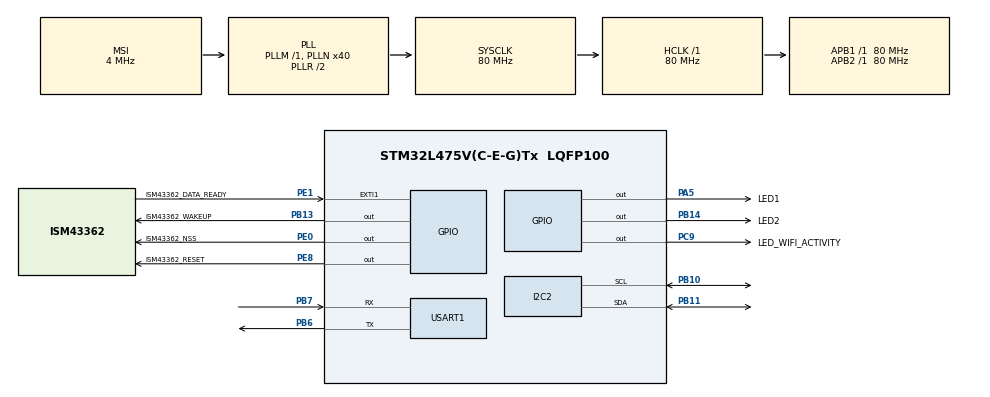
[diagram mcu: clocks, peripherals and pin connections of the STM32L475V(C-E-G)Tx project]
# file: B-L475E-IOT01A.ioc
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I2C2.Timing=0x10909CEC
Mcu.Family=STM32L4
Mcu.Name=STM32L475V(C-E-G)Tx
Mcu.Package=LQFP100
NVIC.EXTI1_IRQn=true\:0\:0\:false\:false\:true\:true\:true
NVIC.PriorityGroup=NVIC_PRIORITYGROUP_4
PA5.GPIO_Label=LED1
PA5.Signal=GPIO_Output
PB10.Mode=I2C
PB10.Signal=I2C2_SCL
PB11.Mode=I2C
PB11.Signal=I2C2_SDA
PB13.GPIO_Label=ISM43362_WAKEUP
PB13.Signal=GPIO_Output
PB14.GPIO_Label=LED2
PB14.Signal=GPIO_Output
PB6.Mode=Asynchronous
PB6.Signal=USART1_TX
PB7.Mode=Asynchronous
PB7.Signal=USART1_RX
PC9.GPIO_Label=LED_WIFI_ACTIVITY
PC9.Signal=GPIO_Output
PE0.GPIO_Label=ISM43362_NSS
PE0.PinState=GPIO_PIN_SET
PE0.Signal=GPIO_Output
PE1.GPIO_Label=ISM43362_DATA_READY
PE1.Signal=GPXTI1
PE8.GPIO_Label=ISM43362_RESET
PE8.PinState=GPIO_PIN_SET
PE8.Signal=GPIO_Output
ProjectManager.HeapSize=0x200
ProjectManager.StackSize=0x400
ProjectManager.TargetToolchain=EWARM V8.32
RCC.ADCFreq_Value=48000000
RCC.AHBFreq_Value=80000000
RCC.APB1Freq_Value=80000000
RCC.APB1TimFreq_Value=80000000
RCC.APB2Freq_Value=80000000
RCC.APB2TimFreq_Value=80000000
RCC.CortexFreq_Value=80000000
RCC.HCLKFreq_Value=80000000
RCC.HSE_VALUE=8000000
RCC.HSI_VALUE=16000000
RCC.LSE_VALUE=32768
RCC.MSI_VALUE=4000000
RCC.PLLN=40
RCC.PLLSAI1N=24
RCC.SYSCLKFreq_VALUE=80000000
RCC.SYSCLKSource=RCC_SYSCLKSOURCE_PLLCLK
RCC.USBFreq_Value=48000000
RCC.VCOOutputFreq_Value=160000000
STMicroelectronics.I-CUBE-STDIO.1.4.1.STDIOCcCompilerJjIOoOJjSTDOUT=USART
STMicroelectronics.X-CUBE-COMPONENTS.1.4.1.HTS221_I2C_HANDLER=hi2c2
STMicroelectronics.X-CUBE-COMPONENTS.1.4.1.LIS3MDL_I2C_HANDLER=hi2c2
STMicroelectronics.X-CUBE-COMPONENTS.1.4.1.LPS22HB_I2C_HANDLER=hi2c2
STMicroelectronics.X-CUBE-COMPONENTS.1.4.1.LSM6DSL_I2C_ADDRESS=0xD4
STMicroelectronics.X-CUBE-COMPONENTS.1.4.1.LSM6DSL_I2C_HANDLER=hi2c2
STMicroelectronics.X-CUBE-COMPONENTS.1.4.1.SensorsCcMotionJjMagJjLIS3MDL=I2C
USART1.VirtualMode-Asynchronous=VM_ASYNC
VP_STMicroelectronics.I-CUBE-STDIO_VS_CompilerJjSTDIO_1.0.0.Mode=CompilerJjSTDIO
VP_STMicroelectronics.X-CUBE-COMPONENTS_VS_MotionJjSensors_1.0.0_1.4.1.Mode=MotionJjSensors
board=custom

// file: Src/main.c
/* USER CODE BEGIN Header */
/**
  ******************************************************************************
  * @file           : main.c
  * @brief          : Main program body
  ******************************************************************************
  * @attention
  *
  * <h2><center>&copy; Copyright (c) 2020 STMicroelectronics.
  * All rights reserved.</center></h2>
  *
  * This software component is licensed by ST under Ultimate Liberty license
  * SLA0044, the "License"; You may not use this file except in compliance with
  * the License. You may obtain a copy of the License at:
  *                             www.st.com/SLA0044
  *
  ******************************************************************************
  */
/* USER CODE END Header */
#include "main.h"

/* USER CODE BEGIN Includes */
#include <stdio.h>
#include "lis3mdl.h"
/* USER CODE END Includes */

I2C_HandleTypeDef hi2c2;

UART_HandleTypeDef huart1;

/* USER CODE BEGIN PV */
LIS3MDL_Object_t        LIS3MDL_Obj;
uint8_t LIS3MDL_Id;
/* USER CODE END PV */

void SystemClock_Config(void);
static void MX_GPIO_Init(void);
static void MX_USART1_UART_Init(void);
static void MX_I2C2_Init(void);
/* USER CODE BEGIN PFP */
int App_Init(void);
int App_Run(void);
/* USER CODE END PFP */

int main(void)
{

  /* MCU Configuration--------------------------------------------------------*/

  /* Reset of all peripherals, Initializes the Flash interface and the Systick. */
  HAL_Init();

  /* Configure the system clock */
  SystemClock_Config();

  /* Initialize all configured peripherals */
  MX_GPIO_Init();
  MX_USART1_UART_Init();
  MX_I2C2_Init();
  /* USER CODE BEGIN 2 */

  App_Init();
  /* USER CODE END 2 */

  /* Infinite loop */
  /* USER CODE BEGIN WHILE */
  while (1)
  {
    App_Run();
    /* USER CODE END WHILE */

  }
}

void SystemClock_Config(void)
{
  RCC_OscInitTypeDef RCC_OscInitStruct = {0};
  RCC_ClkInitTypeDef RCC_ClkInitStruct = {0};
  RCC_PeriphCLKInitTypeDef PeriphClkInit = {0};

  /** Initializes the RCC Oscillators according to the specified parameters
  * in the RCC_OscInitTypeDef structure.
  */
  RCC_OscInitStruct.OscillatorType = RCC_OSCILLATORTYPE_MSI;
  RCC_OscInitStruct.MSIState = RCC_MSI_ON;
  RCC_OscInitStruct.MSICalibrationValue = 0;
  RCC_OscInitStruct.MSIClockRange = RCC_MSIRANGE_6;
  RCC_OscInitStruct.PLL.PLLState = RCC_PLL_ON;
  RCC_OscInitStruct.PLL.PLLSource = RCC_PLLSOURCE_MSI;
  RCC_OscInitStruct.PLL.PLLM = 1;
  RCC_OscInitStruct.PLL.PLLN = 40;
  RCC_OscInitStruct.PLL.PLLP = RCC_PLLP_DIV7;
  RCC_OscInitStruct.PLL.PLLQ = RCC_PLLQ_DIV2;
  RCC_OscInitStruct.PLL.PLLR = RCC_PLLR_DIV2;
  if (HAL_RCC_OscConfig(&RCC_OscInitStruct) != HAL_OK)
  {
    Error_Handler();
  }
  /** Initializes the CPU, AHB and APB buses clocks
  */
  RCC_ClkInitStruct.ClockType = RCC_CLOCKTYPE_HCLK|RCC_CLOCKTYPE_SYSCLK
                              |RCC_CLOCKTYPE_PCLK1|RCC_CLOCKTYPE_PCLK2;
  RCC_ClkInitStruct.SYSCLKSource = RCC_SYSCLKSOURCE_PLLCLK;
  RCC_ClkInitStruct.AHBCLKDivider = RCC_SYSCLK_DIV1;
  RCC_ClkInitStruct.APB1CLKDivider = RCC_HCLK_DIV1;
  RCC_ClkInitStruct.APB2CLKDivider = RCC_HCLK_DIV1;

  if (HAL_RCC_ClockConfig(&RCC_ClkInitStruct, FLASH_LATENCY_4) != HAL_OK)
  {
    Error_Handler();
  }
  PeriphClkInit.PeriphClockSelection = RCC_PERIPHCLK_USART1|RCC_PERIPHCLK_I2C2;
  PeriphClkInit.Usart1ClockSelection = RCC_USART1CLKSOURCE_PCLK2;
  PeriphClkInit.I2c2ClockSelection = RCC_I2C2CLKSOURCE_PCLK1;
  if (HAL_RCCEx_PeriphCLKConfig(&PeriphClkInit) != HAL_OK)
  {
    Error_Handler();
  }
  /** Configure the main internal regulator output voltage
  */
  if (HAL_PWREx_ControlVoltageScaling(PWR_REGULATOR_VOLTAGE_SCALE1) != HAL_OK)
  {
    Error_Handler();
  }
}

static void MX_I2C2_Init(void)
{

  hi2c2.Instance = I2C2;
  hi2c2.Init.Timing = 0x10909CEC;
  hi2c2.Init.OwnAddress1 = 0;
  hi2c2.Init.AddressingMode = I2C_ADDRESSINGMODE_7BIT;
  hi2c2.Init.DualAddressMode = I2C_DUALADDRESS_DISABLE;
  hi2c2.Init.OwnAddress2 = 0;
  hi2c2.Init.OwnAddress2Masks = I2C_OA2_NOMASK;
  hi2c2.Init.GeneralCallMode = I2C_GENERALCALL_DISABLE;
  hi2c2.Init.NoStretchMode = I2C_NOSTRETCH_DISABLE;
  if (HAL_I2C_Init(&hi2c2) != HAL_OK)
  {
    Error_Handler();
  }
  /** Configure Analogue filter
  */
  if (HAL_I2CEx_ConfigAnalogFilter(&hi2c2, I2C_ANALOGFILTER_ENABLE) != HAL_OK)
  {
    Error_Handler();
  }
  /** Configure Digital filter
  */
  if (HAL_I2CEx_ConfigDigitalFilter(&hi2c2, 0) != HAL_OK)
  {
    Error_Handler();
  }

}

static void MX_USART1_UART_Init(void)
{

  huart1.Instance = USART1;
  huart1.Init.BaudRate = 115200;
  huart1.Init.WordLength = UART_WORDLENGTH_8B;
  huart1.Init.StopBits = UART_STOPBITS_1;
  huart1.Init.Parity = UART_PARITY_NONE;
  huart1.Init.Mode = UART_MODE_TX_RX;
  huart1.Init.HwFlowCtl = UART_HWCONTROL_NONE;
  huart1.Init.OverSampling = UART_OVERSAMPLING_16;
  huart1.Init.OneBitSampling = UART_ONE_BIT_SAMPLE_DISABLE;
  huart1.AdvancedInit.AdvFeatureInit = UART_ADVFEATURE_NO_INIT;
  if (HAL_UART_Init(&huart1) != HAL_OK)
  {
    Error_Handler();
  }

}

static void MX_GPIO_Init(void)
{
  GPIO_InitTypeDef GPIO_InitStruct = {0};

  /* GPIO Ports Clock Enable */
  __HAL_RCC_GPIOA_CLK_ENABLE();
  __HAL_RCC_GPIOE_CLK_ENABLE();
  __HAL_RCC_GPIOB_CLK_ENABLE();
  __HAL_RCC_GPIOC_CLK_ENABLE();

  /*Configure GPIO pin Output Level */
  HAL_GPIO_WritePin(LED1_GPIO_Port, LED1_Pin, GPIO_PIN_RESET);

  /*Configure GPIO pin Output Level */
  HAL_GPIO_WritePin(GPIOE, ISM43362_RESET_Pin|ISM43362_NSS_Pin, GPIO_PIN_SET);

  /*Configure GPIO pin Output Level */
  HAL_GPIO_WritePin(GPIOB, ISM43362_WAKEUP_Pin|LED2_Pin, GPIO_PIN_RESET);

  /*Configure GPIO pin Output Level */
  HAL_GPIO_WritePin(LED_WIFI_ACTIVITY_GPIO_Port, LED_WIFI_ACTIVITY_Pin, GPIO_PIN_RESET);

  /*Configure GPIO pin : LED1_Pin */
  GPIO_InitStruct.Pin = LED1_Pin;
  GPIO_InitStruct.Mode = GPIO_MODE_OUTPUT_PP;
  GPIO_InitStruct.Pull = GPIO_NOPULL;
  GPIO_InitStruct.Speed = GPIO_SPEED_FREQ_LOW;
  HAL_GPIO_Init(LED1_GPIO_Port, &GPIO_InitStruct);

  /*Configure GPIO pins : ISM43362_RESET_Pin ISM43362_NSS_Pin */
  GPIO_InitStruct.Pin = ISM43362_RESET_Pin|ISM43362_NSS_Pin;
  GPIO_InitStruct.Mode = GPIO_MODE_OUTPUT_PP;
  GPIO_InitStruct.Pull = GPIO_NOPULL;
  GPIO_InitStruct.Speed = GPIO_SPEED_FREQ_LOW;
  HAL_GPIO_Init(GPIOE, &GPIO_InitStruct);

  /*Configure GPIO pins : ISM43362_WAKEUP_Pin LED2_Pin */
  GPIO_InitStruct.Pin = ISM43362_WAKEUP_Pin|LED2_Pin;
  GPIO_InitStruct.Mode = GPIO_MODE_OUTPUT_PP;
  GPIO_InitStruct.Pull = GPIO_NOPULL;
  GPIO_InitStruct.Speed = GPIO_SPEED_FREQ_LOW;
  HAL_GPIO_Init(GPIOB, &GPIO_InitStruct);

  /*Configure GPIO pin : LED_WIFI_ACTIVITY_Pin */
  GPIO_InitStruct.Pin = LED_WIFI_ACTIVITY_Pin;
  GPIO_InitStruct.Mode = GPIO_MODE_OUTPUT_PP;
  GPIO_InitStruct.Pull = GPIO_NOPULL;
  GPIO_InitStruct.Speed = GPIO_SPEED_FREQ_LOW;
  HAL_GPIO_Init(LED_WIFI_ACTIVITY_GPIO_Port, &GPIO_InitStruct);

  /*Configure GPIO pin : ISM43362_DATA_READY_Pin */
  GPIO_InitStruct.Pin = ISM43362_DATA_READY_Pin;
  GPIO_InitStruct.Mode = GPIO_MODE_IT_RISING;
  GPIO_InitStruct.Pull = GPIO_NOPULL;
  HAL_GPIO_Init(ISM43362_DATA_READY_GPIO_Port, &GPIO_InitStruct);

  /* EXTI interrupt init*/
  HAL_NVIC_SetPriority(EXTI1_IRQn, 0, 0);
  HAL_NVIC_EnableIRQ(EXTI1_IRQn);

}

/* USER CODE BEGIN 4 */
/**
* @brief  Initialize the sensor
* @param  None
* @retval Init error
*/
int App_Init(void)
{
uint32_t err = 0;

  LIS3MDL_Obj.IO.BusType       =  LIS3MDL_I2C_BUS;
  LIS3MDL_Obj.IO.Address       =  LIS3MDL_I2C_ADDRESS;
  LIS3MDL_Obj.IO.hi2c          = &LIS3MDL_I2C_HANDLER;
  LIS3MDL_Obj.is_initialized   = 0;
  LIS3MDL_Obj.mag_is_enabled   = 0;

  err = LIS3MDL_Init       (&LIS3MDL_Obj);
  err = LIS3MDL_ReadID     (&LIS3MDL_Obj, &LIS3MDL_Id);
  err = LIS3MDL_MAG_Enable (&LIS3MDL_Obj);

  if(err) { printf("LIS3MDL error\r\n");}

  return err;
}

/**
* @brief  Read and display sensor data
* @param  None
* @retval Run error
*/
int App_Run(void)
{
  uint32_t err = 0;
  LIS3MDL_Axes_t LIS3MDL_Axes;

  err = LIS3MDL_MAG_GetAxes (&LIS3MDL_Obj, &LIS3MDL_Axes);

  if(err)
  {
    printf("Error reading from sensor\r\n");
  }
  else
  {
    printf("LIS3MDL : %d, %d, %d\r\n", LIS3MDL_Axes.x , LIS3MDL_Axes.y , LIS3MDL_Axes.z );
  }

  HAL_Delay(1000);

  return err;
}
/* USER CODE END 4 */

void Error_Handler(void)
{
}

/************************ (C) COPYRIGHT STMicroelectronics *****END OF FILE****/
